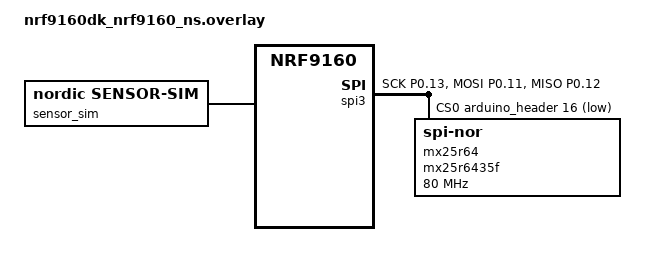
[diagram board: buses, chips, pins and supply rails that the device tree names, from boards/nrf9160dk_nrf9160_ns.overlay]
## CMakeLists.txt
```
#
# Copyright (c) 2018 Nordic Semiconductor
#
# SPDX-License-Identifier: LicenseRef-Nordic-5-Clause
#

cmake_minimum_required(VERSION 3.20.0)

find_package(Zephyr REQUIRED HINTS $ENV{ZEPHYR_BASE})
project(lwm2m_client)
zephyr_compile_definitions(PROJECT_NAME=${PROJECT_NAME})

# NORDIC SDK APP START
target_sources(app PRIVATE src/main.c)
zephyr_include_directories(src)
# NORDIC SDK APP END

# Include application events and configuration headers
zephyr_library_include_directories(
	src/lwm2m
	src/ui
	src/ipso
	src/events
	src/sensors
	src/modules
	)

# Application sources
add_subdirectory(src/lwm2m)
add_subdirectory(src/ui)
add_subdirectory(src/ipso)
add_subdirectory(src/events)
add_subdirectory(src/sensors)
add_subdirectory(src/modules)
add_subdirectory(src/shell_cmds)
```

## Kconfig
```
#
# Copyright (c) 2018 Nordic Semiconductor ASA
#
# SPDX-License-Identifier: LicenseRef-Nordic-5-Clause
#

menu "Application sample"

rsource "src/ui/Kconfig"
rsource "src/modules/Kconfig"
rsource "src/lwm2m/Kconfig"

menu "LwM2M objects"
config APP_PUSH_BUTTON
	bool "Enable button(s)"
	select UI_INPUT
	select LWM2M_IPSO_PUSH_BUTTON
	select LWM2M_APP_PUSH_BUTTON


config APP_ONOFF_SWITCH
	bool "Enable switches"
	depends on BOARD_NRF9160DK_NRF9160_NS
	select UI_INPUT
	select LWM2M_IPSO_ONOFF_SWITCH
	select LWM2M_APP_ONOFF_SWITCH


menuconfig APP_LIGHT_CONTROL
	bool "Enable LED(s)"
	select UI_LED
	select LWM2M_IPSO_LIGHT_CONTROL
	select LWM2M_APP_LIGHT_CONTROL

if APP_LIGHT_CONTROL
	rsource "src/ui/Kconfig.ui_led"
endif # APP_LIGHT_CONTROL


menuconfig APP_BUZZER
	bool "Enable buzzer"
	depends on BOARD_THINGY91_NRF9160_NS
	select UI_BUZZER
	select LWM2M_APP_BUZZER


menuconfig APP_LIGHT_SENSOR
	bool "Enable light sensor"
	select LIGHT_SENSOR
	select LWM2M_IPSO_APP_COLOUR_SENSOR
	select LWM2M_APP_LIGHT_SENSOR

if APP_LIGHT_SENSOR
	rsource "src/sensors/Kconfig.light_sensor"
	rsource "src/ipso/Kconfig.ipso_colour_sensor"
endif # APP_LIGHT_SENSOR


menuconfig APP_ENV_SENSOR
	bool "Enable environment sensors"
	select ENVIRONMENT_SENSOR
	help
	  Enables options for enabling temperature, pressure, humidity and gas resistance sensors.

if APP_ENV_SENSOR
rsource "src/sensors/Kconfig.env_sensor"

config APP_TEMP_SENSOR
	bool "Enable temperature sensor"
	select LWM2M_IPSO_TEMP_SENSOR
	select LWM2M_APP_TEMP_SENSOR

config APP_PRESS_SENSOR
	bool "Enable air pressure sensor"
	select LWM2M_IPSO_PRESSURE_SENSOR
	select LWM2M_APP_PRESS_SENSOR

config APP_HUMID_SENSOR
	bool "Enable humidity sensor"
	select LWM2M_IPSO_HUMIDITY_SENSOR
	select LWM2M_APP_HUMID_SENSOR

config APP_GAS_RES_SENSOR
	bool "Enable gas resistance sensor"
	select LWM2M_IPSO_GENERIC_SENSOR
	select LWM2M_APP_GAS_RES_SENSOR
endif # APP_ENV_SENSOR


menuconfig APP_ACCELEROMETER
	bool "Enable accelerometer"
	select ACCELEROMETER
	select LWM2M_IPSO_ACCELEROMETER
	select LWM2M_APP_ACCELEROMETER

if APP_ACCELEROMETER
	rsource "src/sensors/Kconfig.accelerometer"
endif # APP_ACCELEROMETER

menuconfig APP_GNSS
	bool "Enable GNSS"
	select GNSS
	select LWM2M_LOCATION_OBJ_SUPPORT

if APP_GNSS
	rsource "src/sensors/Kconfig.gnss"
endif # APP_GNSS

endmenu # LwM2M objects

config APP_LWM2M_PSK
	string "LwM2M pre-shared key for communication"
	default "000102030405060708090a0b0c0d0e0f"
	help
	  Pre Shared Key must be identical to the PSK registered with the device on the LwM2M server.
	  Use the hexadecimal representation.

config APP_ENDPOINT_PREFIX
	string "Prefix used in the endpoint name"
	default "urn:imei:"
	help
	  Sets the prefix of the endpoint name used when connecting to the LwM2M server.
menu "Device info"
config APP_MANUFACTURER
	string "Board manufacturer"
	default	"Nordic Semiconductor ASA"

config APP_DEVICE_TYPE
	string "Device type"
	default	"OMA-LWM2M Client"
endmenu

config APP_CUSTOM_VERSION
	string "Application version. Leave empty to use NCS version"

config APP_NEIGHBOUR_CELL_SCAN_INTERVAL
	int "Interval time [s] between neighbour cell scans"
	depends on LWM2M_CLIENT_UTILS_SIGNAL_MEAS_INFO_OBJ_SUPPORT
	default 600
	help
	  Low value on interval may reduce the performance of the system.

config APP_LWM2M_CONFORMANCE_TESTING
	bool "Send test payload periodically"
	help
	  Enable functionality that uses LwM2M SEND operation to deliver test payload.
	  This allows testing of SEND operation itself as well as "mute-send" resource.

module = APP
module-dep = LOG
module-str = Log level for sample
source "${ZEPHYR_BASE}/subsys/logging/Kconfig.template.log_config"
endmenu # Application sample


menu "Zephyr Kernel"
source "Kconfig.zephyr"
endmenu # Zephyr Kernel
```

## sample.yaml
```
sample:
  name: nrf LwM2M Sample
tests:
  sample.nrf9160.lwm2m_client:
    build_only: true
    integration_platforms:
      - nrf9160dk_nrf9160_ns
      - thingy91_nrf9160_ns
    platform_allow: nrf9160dk_nrf9160_ns thingy91_nrf9160_ns
    tags: ci_build
```

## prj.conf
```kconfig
# General config
CONFIG_NEWLIB_LIBC=y
CONFIG_ASSERT=y
CONFIG_REBOOT=y

# Network
CONFIG_NETWORKING=y
CONFIG_NET_NATIVE=n
CONFIG_NET_IPV6=n
CONFIG_NET_IPV4=y
CONFIG_NET_SOCKETS=y
CONFIG_NET_SOCKETS_OFFLOAD=y

# Sensors
CONFIG_I2C=y
CONFIG_SPI=y
CONFIG_SENSOR=y

# LwM2M and IPSO
CONFIG_LWM2M=y
CONFIG_LWM2M_COAP_BLOCK_SIZE=512
CONFIG_LWM2M_COAP_MAX_MSG_SIZE=1280
CONFIG_LWM2M_ENGINE_MAX_OBSERVER=15
CONFIG_LWM2M_ENGINE_MAX_MESSAGES=15
CONFIG_LWM2M_ENGINE_MAX_PENDING=15
CONFIG_LWM2M_ENGINE_MAX_REPLIES=15
CONFIG_LWM2M_DNS_SUPPORT=y
CONFIG_LWM2M_RW_JSON_SUPPORT=n
CONFIG_LWM2M_SERVER_DEFAULT_PMIN=1
CONFIG_LWM2M_SERVER_DEFAULT_PMAX=300
CONFIG_LWM2M_CLIENT_UTILS=y
CONFIG_LWM2M_CLIENT_UTILS_LOCATION_OBJ_SUPPORT=n
CONFIG_LWM2M_IPSO_SUPPORT=y

# DTLS settings
CONFIG_LWM2M_DTLS_SUPPORT=y

# nRF9160 helper libraries
CONFIG_MODEM_KEY_MGMT=y

# Default app to debug logging
CONFIG_LOG=y
CONFIG_APP_LOG_LEVEL_DBG=y

# Support HEX style PSK values (double the size + NULL char)
CONFIG_LWM2M_SECURITY_KEY_SIZE=33

# extend CoAP retry timing to 4 seconds for LTE/LTE-M
CONFIG_COAP_INIT_ACK_TIMEOUT_MS=4000

# Enable CoAP extended option length
CONFIG_COAP_EXTENDED_OPTIONS_LEN=y
CONFIG_COAP_EXTENDED_OPTIONS_LEN_VALUE=40

# Enable settings storage
CONFIG_SETTINGS=y
CONFIG_FCB=y
CONFIG_SETTINGS_FCB=y
CONFIG_FLASH_MAP=y
CONFIG_STREAM_FLASH=y

# LTE link control
CONFIG_LTE_LINK_CONTROL=y
CONFIG_LTE_NETWORK_MODE_LTE_M_GPS=y

# Modem library
CONFIG_NRF_MODEM_LIB=y

# Modem info
CONFIG_MODEM_INFO=y
CONFIG_MODEM_INFO_ADD_DATE_TIME=n

# Enable shell
CONFIG_LWM2M_SHELL=y

# Heap and stacks
CONFIG_HEAP_MEM_POOL_SIZE=16384
CONFIG_MAIN_STACK_SIZE=4096
CONFIG_LWM2M_ENGINE_STACK_SIZE=3072
CONFIG_SYSTEM_WORKQUEUE_STACK_SIZE=2048

# Allow FOTA downloads using download-client
CONFIG_DOWNLOAD_CLIENT=y
CONFIG_DOWNLOAD_CLIENT_STACK_SIZE=4096
CONFIG_DOWNLOAD_CLIENT_HTTP_FRAG_SIZE_1024=y
CONFIG_FOTA_DOWNLOAD=y

# Application version
CONFIG_MCUBOOT_IMAGE_VERSION="1.0.0"

# Set LwM2M Server IP address here
CONFIG_LWM2M_CLIENT_UTILS_SERVER="coaps://leshan.eclipseprojects.io:5684"

# Application Event Manager
CONFIG_APP_EVENT_MANAGER=y

# Date-Time library
CONFIG_DATE_TIME=y
CONFIG_DATE_TIME_UPDATE_INTERVAL_SECONDS=86400

# Enable LwM2M Queue Mode
CONFIG_LWM2M_QUEUE_MODE_ENABLED=y

# Enable TLS session caching to prevent doing a full TLS handshake for every send.
CONFIG_LWM2M_TLS_SESSION_CACHING=y

# Socket close is skipped at RX off idle state which optimize power consumption
# Socket close call will enable RCC connection for send Alert message to server
# Alert is now send right before opening a new connection.
CONFIG_LWM2M_RD_CLIENT_SUSPEND_SOCKET_AT_IDLE=y

# Sets the duration that the lwm2m engine will be polling for data after transmission before
# the socket is closed.
# Adjust so that we can detach from network in 30 seconds
CONFIG_LWM2M_QUEUE_MODE_UPTIME=30

# Set lifetime of 12 hours
CONFIG_LWM2M_ENGINE_DEFAULT_LIFETIME=43200

# Do registration update after 5400 seconds (90 minutes)
CONFIG_LWM2M_SECONDS_TO_UPDATE_EARLY=37800

# Configure PSM mode
# Request periodic TAU of 3600 seconds (60 minutes)
CONFIG_LTE_PSM_REQ_RPTAU="00000110"

# Set Requested Active Time (RAT) to 30 seconds. Preferably a little bit longer than the
# configured LWM2M_QUEUE_MODE_UPTIME. Due to NAT/firewall UDP connections are usually
# closed within 30-60 seconds so there is in general no point in setting a longer
# Queue mode uptime / LTE PSM active time.
CONFIG_LTE_PSM_REQ_RAT="00001111"

# Request eDRX mode
CONFIG_LTE_EDRX_REQ=y

# Request eDRX cycle length of 10.24 seconds for LTE-M
CONFIG_LTE_EDRX_REQ_VALUE_LTE_M="0001"

# Request eDRX cycle length of 20.48 seconds for NB-IoT
CONFIG_LTE_EDRX_REQ_VALUE_NBIOT="0010"

# Request Paging time window of 1.28 seconds for LTE-M
CONFIG_LTE_PTW_VALUE_LTE_M="0000"

# Request Paging time window of 2.56 seconds for NB-IoT
CONFIG_LTE_PTW_VALUE_NBIOT="0000"

# Get notification before Tracking Area Update (TAU). Notification triggers registration
# update and TAU will be sent with the update which decreases power consumption.
CONFIG_LTE_LC_TAU_PRE_WARNING_NOTIFICATIONS=y
```

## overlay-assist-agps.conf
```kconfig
CONFIG_NEWLIB_LIBC_FLOAT_PRINTF=y
#LwM2M Client utility library options
CONFIG_LWM2M_CLIENT_UTILS_GNSS_ASSIST_OBJ_SUPPORT=y
CONFIG_LWM2M_CLIENT_UTILS_LOCATION_ASSIST_AGPS=y
#AGPS library options
CONFIG_NRF_CLOUD_AGPS=y
#Enable LwM2M 1.1
CONFIG_LWM2M_VERSION_1_1=y
CONFIG_LWM2M_COMPOSITE_PATH_LIST_SIZE=10
#Enable SenML-CBOR content format
CONFIG_LWM2M_RW_SENML_CBOR_SUPPORT=y
CONFIG_ZCBOR=y
CONFIG_ZCBOR_CANONICAL=y
CONFIG_LWM2M_RW_SENML_CBOR_RECORDS=35
```

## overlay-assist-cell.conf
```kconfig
CONFIG_NEWLIB_LIBC_FLOAT_PRINTF=y
#LwM2M Client utility library options
CONFIG_LWM2M_CLIENT_UTILS_GROUND_FIX_OBJ_SUPPORT=y
CONFIG_LWM2M_CLIENT_UTILS_LOCATION_ASSIST_EVENTS=y
CONFIG_LWM2M_CLIENT_UTILS_LOCATION_ASSIST_CELL=y
CONFIG_LWM2M_CLIENT_UTILS_NEIGHBOUR_CELL_LISTENER=y
#Enable LwM2M 1.1
CONFIG_LWM2M_VERSION_1_1=y
CONFIG_LWM2M_COMPOSITE_PATH_LIST_SIZE=10
#Enable SenML-CBOR content format
CONFIG_LWM2M_RW_SENML_CBOR_SUPPORT=y
CONFIG_ZCBOR=y
CONFIG_ZCBOR_CANONICAL=y
CONFIG_LWM2M_RW_SENML_CBOR_RECORDS=35
# Increase AT monitor heap because %NCELLMEAS notifications can be large
CONFIG_AT_MONITOR_HEAP_SIZE=512
```

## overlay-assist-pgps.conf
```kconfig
CONFIG_NEWLIB_LIBC_FLOAT_PRINTF=y
#LwM2M Client utility library options
CONFIG_LWM2M_CLIENT_UTILS_GNSS_ASSIST_OBJ_SUPPORT=y
CONFIG_LWM2M_CLIENT_UTILS_LOCATION_ASSIST_PGPS=y
CONFIG_LWM2M_CLIENT_UTILS_LOCATION_ASSIST_PGPS_PREDICTION_COUNT=8
#PGPS library options
CONFIG_NRF_CLOUD_PGPS=y
CONFIG_NRF_CLOUD_PGPS_TRANSPORT_NONE=y
CONFIG_NRF_CLOUD_PGPS_DOWNLOAD_TRANSPORT_CUSTOM=y
#Enable LwM2M 1.1
CONFIG_LWM2M_VERSION_1_1=y
CONFIG_LWM2M_COMPOSITE_PATH_LIST_SIZE=10
#Enable SenML-CBOR content format
CONFIG_LWM2M_RW_SENML_CBOR_SUPPORT=y
CONFIG_ZCBOR=y
CONFIG_ZCBOR_CANONICAL=y
CONFIG_LWM2M_RW_SENML_CBOR_RECORDS=35
```

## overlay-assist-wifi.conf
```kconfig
#
# Copyright (c) 2022 Nordic Semiconductor ASA
#
# SPDX-License-Identifier: LicenseRef-Nordic-5-Clause
#

# Overlay to use nRF7002 EK on top of nrf9160 DK for Wi-Fi scanning

# Disable modem traces as UART1 is disabled
CONFIG_NRF_MODEM_LIB_TRACE=n

# System settings
CONFIG_NEWLIB_LIBC=y
CONFIG_NEWLIB_LIBC_FLOAT_PRINTF=y

# LwM2M Client utility library options
CONFIG_LWM2M_CLIENT_UTILS_GROUND_FIX_OBJ_SUPPORT=y
CONFIG_LWM2M_CLIENT_UTILS_VISIBLE_WIFI_AP_OBJ_SUPPORT=y
CONFIG_LWM2M_CLIENT_UTILS_WIFI_AP_SCANNER=y

# Enable LwM2M 1.1
CONFIG_LWM2M_VERSION_1_1=y
CONFIG_LWM2M_COMPOSITE_PATH_LIST_SIZE=10

# Enable SenML-CBOR content format
CONFIG_LWM2M_RW_SENML_CBOR_SUPPORT=y
CONFIG_ZCBOR=y
CONFIG_ZCBOR_CANONICAL=y
CONFIG_LWM2M_RW_SENML_CBOR_RECORDS=40

# Needed to handle more scan results
CONFIG_HEAP_MEM_POOL_SIZE=60000

# Does not work with buttons&LEDs
CONFIG_APP_PUSH_BUTTON=n
CONFIG_APP_ONOFF_SWITCH=n
CONFIG_DK_LIBRARY=n

# Actual configs for the Wi-Fi
CONFIG_WIFI=y
CONFIG_NRF_WIFI700X=y
CONFIG_NET_L2_WIFI_MGMT=y

# Scan only using offload API
CONFIG_WPA_SUPP=n

# For nRF9160 the default is socket interface
CONFIG_NET_DEFAULT_IF_ETHERNET=y
#CONFIG_MBEDTLS=n
CONFIG_NORDIC_SECURITY_BACKEND=n

# Networking
CONFIG_NET_L2_ETHERNET=y
CONFIG_NET_NATIVE=y
```

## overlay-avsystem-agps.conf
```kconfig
CONFIG_NEWLIB_LIBC_FLOAT_PRINTF=y
CONFIG_LWM2M_CLIENT_UTILS_SERVER="coaps://eu.iot.avsystem.cloud:5684"
CONFIG_LWM2M_CLIENT_UTILS_LOCATION_ASSIST_OBJ_SUPPORT=y
CONFIG_LWM2M_CLIENT_UTILS_LOCATION_ASSIST_EVENTS=y
CONFIG_NRF_CLOUD_AGPS=y
CONFIG_LWM2M_CLIENT_UTILS_LOCATION_ASSIST_AGPS=y
CONFIG_LWM2M_VERSION_1_1=y
CONFIG_BASE64=y
CONFIG_LWM2M_RW_SENML_JSON_SUPPORT=y
CONFIG_LWM2M_RW_JSON_SUPPORT=y
CONFIG_LWM2M_SECONDS_TO_UPDATE_EARLY=8
CONFIG_LWM2M_COAP_MAX_MSG_SIZE=1024
CONFIG_LWM2M_COMPOSITE_PATH_LIST_SIZE=10
```

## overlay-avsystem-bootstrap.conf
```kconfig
CONFIG_LWM2M_RD_CLIENT_SUPPORT_BOOTSTRAP=y
CONFIG_LWM2M_CLIENT_UTILS_SERVER="coaps://eu.iot.avsystem.cloud:5694"
CONFIG_LWM2M_SECURITY_INSTANCE_COUNT=3
```

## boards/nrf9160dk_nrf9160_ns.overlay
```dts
/*
 * Copyright (c) 2021 Nordic Semiconductor ASA
 *
 * SPDX-License-Identifier: LicenseRef-Nordic-5-Clause
 */

/ {
	sensor_sim: sensor-sim {
		compatible = "nordic,sensor-sim";
		acc-signal = "wave";
	};
};

&spi3 {
	compatible = "nordic,nrf-spim";
	status = "okay";
	pinctrl-0 = <&spi3_default_alt>;
	pinctrl-1 = <&spi3_sleep_alt>;
	pinctrl-names = "default", "sleep";
	cs-gpios = <&arduino_header 16 GPIO_ACTIVE_LOW>, /* D10 */
		   <&gpio0 25 GPIO_ACTIVE_LOW>;
	mx25r64: mx25r6435f@1 {
		compatible = "jedec,spi-nor";
		reg = <0>;
		status = "okay";
		spi-max-frequency = <80000000>;
		jedec-id = [c2 28 17];
		size = <67108864>;
	};
};

&pinctrl {
	spi3_default_alt: spi3_default_alt {
		group1 {
			psels = <NRF_PSEL(SPIM_SCK, 0, 13)>,
				<NRF_PSEL(SPIM_MOSI, 0, 11)>,
				<NRF_PSEL(SPIM_MISO, 0, 12)>;
		};
	};

	spi3_sleep_alt: spi3_sleep_alt {
		group1 {
			psels = <NRF_PSEL(SPIM_SCK, 0, 13)>,
				<NRF_PSEL(SPIM_MOSI, 0, 11)>,
				<NRF_PSEL(SPIM_MISO, 0, 12)>;
			low-power-enable;
		};
	};
};
```

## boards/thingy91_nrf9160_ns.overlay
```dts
/*
 * Copyright (c) 2022 Nordic Semiconductor ASA
 *
 * SPDX-License-Identifier: LicenseRef-Nordic-5-Clause
 */

/ {
	buzzer: buzzer {
		compatible = "pwm-buzzer";
		pwms = <&pwm1 0 PWM_MSEC(20) PWM_POLARITY_NORMAL>;
	};
};
```

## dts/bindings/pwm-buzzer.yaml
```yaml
# Copyright (c) 2022 Nordic Semiconductor
#
# SPDX-License-Identifier: LicenseRef-Nordic-5-Clause

description: |
    This is a representation of a buzzer controlled by a PWM signal. Example
    usage:

      buzzer {
        compatible = "pwm-buzzer";
        pwms = <&pwm0 0 PWM_HZ(440) PWM_POLARITY_NORMAL>;
      };

compatible: "pwm-buzzer"

include: base.yaml

properties:
    pwms:
      type: phandle-array
      required: true
```

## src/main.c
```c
/*
 * Copyright (c) 2019 Nordic Semiconductor ASA
 *
 * SPDX-License-Identifier: LicenseRef-Nordic-5-Clause
 */

#include <zephyr/kernel.h>
#include <ctype.h>
#include <zephyr/drivers/gpio.h>
#include <stdio.h>
#include <zephyr/net/lwm2m.h>
#include <modem/nrf_modem_lib.h>
#include <net/lwm2m_client_utils.h>
#include <app_event_manager.h>
#include <net/lwm2m_client_utils_location.h>
#include <date_time.h>

#include <zephyr/logging/log.h>
LOG_MODULE_REGISTER(app_lwm2m_client, CONFIG_APP_LOG_LEVEL);

#include <modem/lte_lc.h>
#include <modem/modem_info.h>
#include <nrf_modem_at.h>

#include "lwm2m_client_app.h"
#include "lwm2m_app_utils.h"
#include "sensor_module.h"
#include "gnss_module.h"
#include "location_events.h"

#if defined(CONFIG_LWM2M_CLIENT_UTILS_LOCATION_ASSISTANCE)
#include "ui_input.h"
#include "ui_input_event.h"
#endif

#if !defined(CONFIG_LTE_LINK_CONTROL)
#error "Missing CONFIG_LTE_LINK_CONTROL"
#endif

#define APP_BANNER "Run LWM2M client"

#define IMEI_LEN 15
#define ENDPOINT_NAME_LEN (IMEI_LEN + sizeof(CONFIG_APP_ENDPOINT_PREFIX) + 1)

#define LWM2M_SECURITY_PRE_SHARED_KEY 0
#define LWM2M_SECURITY_RAW_PUBLIC_KEY 1
#define LWM2M_SECURITY_CERTIFICATE 2
#define LWM2M_SECURITY_NO_SEC 3

#define CONNEVAL_MAX_DELAY_S 60
#define CONNEVAL_POLL_PERIOD_MS 5000

/* Client State Machine states */
static enum client_state {
	START,		/* Start Connection to a server*/
	CONNECTING,	/* LwM2M engine is connecting to server */
	BOOTSTRAP,	/* LwM2M engine is doing a bootstrap */
	CONNECTED,	/* LwM2M Client connection establisment to server */
	LTE_OFFLINE,	/* LTE offline and LwM2M engine should be suspended */
	UPDATE_FIRMWARE, /* Prepare app ready for firmware update */
	NETWORK_ERROR	/* Client network error handling. Client stop and modem reset */
} client_state = START;

static uint8_t endpoint_name[ENDPOINT_NAME_LEN + 1];
static uint8_t imei_buf[IMEI_LEN + sizeof("\r\nOK\r\n")];
static struct lwm2m_ctx client = {0};
static bool reconnect;
static K_SEM_DEFINE(state_mutex, 0, 1);
static K_MUTEX_DEFINE(lte_mutex);
static bool modem_connected_to_network;
/* Enable session lifetime check for initial boot */
static bool update_session_lifetime = true;
static bool ready_for_firmware_update;

static void rd_client_event(struct lwm2m_ctx *client, enum lwm2m_rd_client_event client_event);

void client_acknowledge(void)
{
	lwm2m_acknowledge(&client);
}

#if defined(CONFIG_LWM2M_CLIENT_UTILS_SIGNAL_MEAS_INFO_OBJ_SUPPORT)
static struct k_work_delayable ncell_meas_work;
void ncell_meas_work_handler(struct k_work *work)
{
	lwm2m_ncell_schedule_measurement();
	k_work_schedule(&ncell_meas_work, K_SECONDS(CONFIG_APP_NEIGHBOUR_CELL_SCAN_INTERVAL));
}
#endif
#if defined(CONFIG_LWM2M_CLIENT_UTILS_VISIBLE_WIFI_AP_OBJ_SUPPORT)
static struct k_work_delayable ground_fix_work;
void ground_fix_work_handler(struct k_work *work)
{
	LOG_INF("Send ground fix location request event");
	struct ground_fix_location_request_event *ground_fix_event =
	new_ground_fix_location_request_event();

	APP_EVENT_SUBMIT(ground_fix_event);
}
#endif

#if defined(CONFIG_LWM2M_CLIENT_UTILS_LOCATION_ASSISTANCE)
static bool button_callback(const struct app_event_header *aeh)
{
	if (is_ui_input_event(aeh)) {
		struct ui_input_event *event = cast_ui_input_event(aeh);

		if (event->type != PUSH_BUTTON || event->state == 0) {
			return false;
		}

		switch (event->device_number) {
		case 1:
#if defined(CONFIG_LWM2M_CLIENT_UTILS_LOCATION_ASSIST_AGPS) || \
defined(CONFIG_LWM2M_CLIENT_UTILS_LOCATION_ASSIST_PGPS)
			LOG_INF("Starting GNSS");
			start_gnss();
#else
			LOG_INF("A-GPS not enabled");
#endif
			break;
		case 2:
#if defined(CONFIG_LWM2M_CLIENT_UTILS_GROUND_FIX_OBJ_SUPPORT)
			LOG_INF("Send cell location request event");
			struct ground_fix_location_request_event *ground_fix_event =
				new_ground_fix_location_request_event();

			APP_EVENT_SUBMIT(ground_fix_event);
#else
			LOG_INF("Ground fix location not enabled");
#endif
			break;
		}
	}
	return false;
}


APP_EVENT_LISTENER(app_lwm2m_client, button_callback);
APP_EVENT_SUBSCRIBE(app_lwm2m_client, ui_input_event);
#endif

#if defined(CONFIG_APP_LWM2M_CONFORMANCE_TESTING)
static struct k_work_delayable send_periodical_work;
static uint8_t send_count = 0;

static int server_send_mute_cb(uint16_t obj_inst_id, uint16_t res_id, uint16_t res_inst_id, uint8_t *data,
			uint16_t data_len, bool last_block, size_t total_size)
{
	if (*data) {
		LOG_INF("Server Muted Send");
	} else {

		if (send_count == 0) {
			LOG_INF("Server Activate Send");
			send_count = 5;
			k_work_schedule(&send_periodical_work, K_SECONDS(1));
		}
	}

	return 0;
}

static void lwm2m_register_server_send_mute_cb(void)
{
	int ret;
	lwm2m_engine_set_data_cb_t cb;

	cb = server_send_mute_cb;
	ret = lwm2m_register_post_write_callback(&LWM2M_OBJ(1, client.srv_obj_inst, 23), cb);
	if (ret) {
		LOG_ERR("Send enable CB fail %d", ret);
	}
}

void send_periodically_work_handler(struct k_work *work)
{
	int ret;
	const struct lwm2m_obj_path send_path[4] = {
		LWM2M_OBJ(3, 0, 0),
		LWM2M_OBJ(3, 0, 3),
		LWM2M_OBJ(3, 0, 13),
		LWM2M_OBJ(3, 0, 19),
	};

	/* lwm2m send post to server */
	ret = lwm2m_send_cb(&client, send_path, 4, NULL);
	if (ret) {
		if (ret == EPERM) {
			LOG_INF("Server Mute send block send operation");
		} else {
			LOG_INF("Periodically SEND test data fail %d", ret);
		}
	}

	if (send_count) {
		if (ret == 0) {
			send_count--;
		}

		k_work_schedule(&send_periodical_work, K_SECONDS(15));
	}
}
#endif

static void state_trigger_and_unlock(enum client_state new_state)
{
	if (new_state != client_state) {
		client_state = new_state;
		k_sem_give(&state_mutex);
	}
	k_mutex_unlock(&lte_mutex);
}

#if defined(CONFIG_LWM2M_CLIENT_UTILS_FIRMWARE_UPDATE_OBJ_SUPPORT)
static int lwm2m_firmware_event_cb(struct lwm2m_fota_event *event)
{
	k_mutex_lock(&lte_mutex, K_FOREVER);
	switch (event->id) {
	case LWM2M_FOTA_DOWNLOAD_START:
		LOG_INF("FOTA download started for instance %d", event->download_start.obj_inst_id);
		break;
	/** FOTA download process finished */
	case LWM2M_FOTA_DOWNLOAD_FINISHED:
		LOG_INF("FOTA download ready for instance %d, dfu_type %d",
			event->download_ready.obj_inst_id, event->download_ready.dfu_type);
		break;
	/** FOTA update new image */
	case LWM2M_FOTA_UPDATE_IMAGE_REQ:
		if (!ready_for_firmware_update) {
			state_trigger_and_unlock(UPDATE_FIRMWARE);
			/* Postpone request by 2 seconds */
			return 2;
		}
		LOG_INF("FOTA Update request for instance %d", event->update_req.obj_inst_id);

		break;
	/** Fota process fail or cancelled  */
	case LWM2M_FOTA_UPDATE_ERROR:
		LOG_INF("FOTA failure %d by status %d", event->failure.obj_inst_id,
			event->failure.update_failure);
		break;
	}
	k_mutex_unlock(&lte_mutex);
	return 0;
}
#endif

static int lwm2m_setup(void)
{
#if defined(CONFIG_LWM2M_CLIENT_UTILS_DEVICE_OBJ_SUPPORT)
	/* Manufacturer independent */
	lwm2m_init_device();
#endif

	/* Manufacturer dependent */
	/* use IMEI as serial number */
	lwm2m_app_init_device(imei_buf);
	lwm2m_init_security(&client, endpoint_name, NULL);

	if (sizeof(CONFIG_APP_LWM2M_PSK) > 1) {
		/* Write hard-coded PSK key to engine */
		/* First security instance is the right one, because in bootstrap mode, */
		/* it is the bootstrap PSK. In normal mode, it is the server key */
		lwm2m_security_set_psk(0, CONFIG_APP_LWM2M_PSK, sizeof(CONFIG_APP_LWM2M_PSK), true,
				       endpoint_name);
	}

#if defined(CONFIG_LWM2M_CLIENT_UTILS_FIRMWARE_UPDATE_OBJ_SUPPORT)
	lwm2m_init_firmware_cb(lwm2m_firmware_event_cb);
#endif
#if defined(CONFIG_LWM2M_APP_LIGHT_CONTROL)
	lwm2m_init_light_control();
#endif
#if defined(CONFIG_LWM2M_APP_TEMP_SENSOR)
	lwm2m_init_temp_sensor();
#endif
#if defined(CONFIG_LWM2M_APP_PRESS_SENSOR)
	lwm2m_init_press_sensor();
#endif
#if defined(CONFIG_LWM2M_APP_HUMID_SENSOR)
	lwm2m_init_humid_sensor();
#endif
#if defined(CONFIG_LWM2M_APP_GAS_RES_SENSOR)
	lwm2m_init_gas_res_sensor();
#endif
#if defined(CONFIG_LWM2M_APP_BUZZER)
	lwm2m_init_buzzer();
#endif
#if defined(CONFIG_LWM2M_APP_PUSH_BUTTON)
	lwm2m_init_push_button();
#endif
#if defined(CONFIG_LWM2M_APP_ONOFF_SWITCH)
	lwm2m_init_onoff_switch();
#endif
#if defined(CONFIG_LWM2M_APP_ACCELEROMETER)
	lwm2m_init_accel();
#endif
#if defined(CONFIG_LWM2M_APP_LIGHT_SENSOR)
	lwm2m_init_light_sensor();
#endif
#if defined(CONFIG_LWM2M_PORTFOLIO_OBJ_SUPPORT)
	lwm2m_init_portfolio_object();
#endif
#if defined(CONFIG_LWM2M_CLIENT_UTILS_LOCATION_ASSISTANCE)
	location_event_handler_init(&client);
	location_assistance_init_resend_handler();
#endif
#if defined(CONFIG_LWM2M_CLIENT_UTILS_CELL_CONN_OBJ_SUPPORT)
	lwm2m_init_cellular_connectivity_object();
#endif
	if (IS_ENABLED(CONFIG_LWM2M_CLIENT_UTILS_RAI)) {
		lwm2m_init_rai();
	}
	if (IS_ENABLED(CONFIG_LTE_LC_TAU_PRE_WARNING_NOTIFICATIONS) ||
	    IS_ENABLED(CONFIG_LWM2M_CLIENT_UTILS_NEIGHBOUR_CELL_LISTENER)) {
		lwm2m_ncell_handler_register();
	}

	return 0;
}

static void date_time_event_handler(const struct date_time_evt *evt)
{
	switch (evt->type) {
	case DATE_TIME_OBTAINED_MODEM: {
		int64_t time = 0;

		LOG_INF("Obtained date-time from modem");
		date_time_now(&time);
		lwm2m_set_s32(&LWM2M_OBJ(LWM2M_OBJECT_DEVICE_ID, 0, CURRENT_TIME_RID),
				     (int32_t)(time / 1000));
		break;
	}

	case DATE_TIME_OBTAINED_NTP: {
		int64_t time = 0;

		LOG_INF("Obtained date-time from NTP server");
		date_time_now(&time);
		lwm2m_set_s32(&LWM2M_OBJ(LWM2M_OBJECT_DEVICE_ID, 0, CURRENT_TIME_RID),
				     (int32_t)(time / 1000));
		break;
	}

	case DATE_TIME_NOT_OBTAINED:
		LOG_INF("Could not obtain date-time update");
		break;

	default:
		break;
	}
}

static void rd_client_update_lifetime(int srv_obj_inst)
{
	uint32_t current_lifetime = 0;

	uint32_t lifetime = CONFIG_LWM2M_ENGINE_DEFAULT_LIFETIME;

	struct lwm2m_obj_path path = LWM2M_OBJ(1, srv_obj_inst, 1);

	lwm2m_get_u32(&path, &current_lifetime);

	if (current_lifetime != lifetime) {
		/* SET Configured value */
		lwm2m_set_u32(&path, lifetime);
		LOG_DBG("Update session lifetime from %d to %d", current_lifetime, lifetime);
	}
	update_session_lifetime = false;
}

static void state_set_and_unlock(enum client_state new_state)
{
	client_state = new_state;
	k_mutex_unlock(&lte_mutex);
}

static void rd_client_event(struct lwm2m_ctx *client, enum lwm2m_rd_client_event client_event)
{
	k_mutex_lock(&lte_mutex, K_FOREVER);

	if (IS_ENABLED(CONFIG_LWM2M_CLIENT_UTILS_LTE_CONNEVAL)) {
		lwm2m_utils_conneval(client, &client_event);
	}

	if (client_state == LTE_OFFLINE &&
	    client_event != LWM2M_RD_CLIENT_EVENT_ENGINE_SUSPENDED) {
		LOG_DBG("Drop network event %d at LTE offline state", client_event);
		k_mutex_unlock(&lte_mutex);
		return;
	}

	switch (client_event) {
	case LWM2M_RD_CLIENT_EVENT_NONE:
		/* do nothing */
		k_mutex_unlock(&lte_mutex);
		break;

	case LWM2M_RD_CLIENT_EVENT_BOOTSTRAP_REG_FAILURE:
		LOG_DBG("Bootstrap registration failure!");
		state_trigger_and_unlock(NETWORK_ERROR);
		break;

	case LWM2M_RD_CLIENT_EVENT_BOOTSTRAP_REG_COMPLETE:
		LOG_DBG("Bootstrap registration complete");
		update_session_lifetime = true;
		state_trigger_and_unlock(BOOTSTRAP);
		break;

	case LWM2M_RD_CLIENT_EVENT_BOOTSTRAP_TRANSFER_COMPLETE:
		LOG_DBG("Bootstrap transfer complete");
		k_mutex_unlock(&lte_mutex);
		break;

	case LWM2M_RD_CLIENT_EVENT_REGISTRATION_FAILURE:
		LOG_WRN("Registration failure!");
		state_trigger_and_unlock(NETWORK_ERROR);
		break;

	case LWM2M_RD_CLIENT_EVENT_REGISTRATION_COMPLETE:
		LOG_DBG("Registration complete");
		state_trigger_and_unlock(CONNECTED);
		break;

	case LWM2M_RD_CLIENT_EVENT_REG_TIMEOUT:
		LOG_DBG("Registration update failure!");
		state_trigger_and_unlock(NETWORK_ERROR);
		break;

	case LWM2M_RD_CLIENT_EVENT_REG_UPDATE:
		LOG_DBG("Registration update started");
		k_mutex_unlock(&lte_mutex);
		break;

	case LWM2M_RD_CLIENT_EVENT_REG_UPDATE_COMPLETE:
		LOG_DBG("Registration update complete");
		state_trigger_and_unlock(CONNECTED);
		break;

	case LWM2M_RD_CLIENT_EVENT_DEREGISTER_FAILURE:
		LOG_DBG("Deregister failure!");
		reconnect = true;
		state_trigger_and_unlock(NETWORK_ERROR);
		break;

	case LWM2M_RD_CLIENT_EVENT_DISCONNECT:
		LOG_DBG("Disconnected");
		if (client_state != UPDATE_FIRMWARE) {
			state_set_and_unlock(START);
		} else {
			k_mutex_unlock(&lte_mutex);
		}
		break;

	case LWM2M_RD_CLIENT_EVENT_QUEUE_MODE_RX_OFF:
		LOG_DBG("Queue mode RX window closed");
		if (IS_ENABLED(CONFIG_LWM2M_CLIENT_UTILS_RAI)) {
			lwm2m_rai_last();
		}
		k_mutex_unlock(&lte_mutex);
		break;

	case LWM2M_RD_CLIENT_EVENT_ENGINE_SUSPENDED:
		LOG_DBG("LwM2M engine suspended");
		k_mutex_unlock(&lte_mutex);
		break;

	case LWM2M_RD_CLIENT_EVENT_NETWORK_ERROR:
		LOG_ERR("LwM2M engine reported a network error.");
		reconnect = true;
		state_trigger_and_unlock(NETWORK_ERROR);
		break;
	}
}

static void modem_connect(void)
{
	int ret;

#if defined(CONFIG_LWM2M_QUEUE_MODE_ENABLED)
	if (!IS_ENABLED(CONFIG_LTE_EDRX_REQ)) {
		ret = lte_lc_edrx_req(false);
		if (ret < 0) {
			LOG_ERR("EDRX request error %d", ret);
		}
	}

	ret = lte_lc_psm_req(true);
	if (ret < 0) {
		LOG_ERR("lte_lc_psm_req, error: (%d)", ret);
	} else {
		LOG_INF("PSM mode requested");
	}
#endif

	do {

		LOG_INF("Connecting to network.");
		LOG_INF("This may take several minutes.");

		ret = lte_lc_connect();
		if (ret < 0) {
			LOG_WRN("Failed to establish LTE connection (%d).", ret);
			LOG_WRN("Will retry in a minute.");
			lte_lc_offline();
			k_sleep(K_SECONDS(60));
		} else {
			enum lte_lc_lte_mode mode;

			lte_lc_lte_mode_get(&mode);
			if (mode == LTE_LC_LTE_MODE_NBIOT) {
				LOG_INF("Connected to NB-IoT network");
			} else if (mode == LTE_LC_LTE_MODE_LTEM) {
				LOG_INF("Connected to LTE network");
			} else  {
				LOG_INF("Connected to unknown network");
			}
		}
	} while (ret < 0);

	if (IS_ENABLED(CONFIG_LWM2M_CLIENT_UTILS_LTE_CONNEVAL)) {
		ret = lwm2m_utils_enable_conneval(LTE_LC_ENERGY_CONSUMPTION_NORMAL,
						  CONNEVAL_MAX_DELAY_S, CONNEVAL_POLL_PERIOD_MS);
		if (ret < 0) {
			LOG_ERR("Failed to enable conneval (%d)", ret);
		} else {
			LOG_INF("Conneval enabled");
		}
	}
}

static bool lte_connected(enum lte_lc_nw_reg_status nw_reg_status)
{
	if ((nw_reg_status == LTE_LC_NW_REG_REGISTERED_HOME) ||
	    (nw_reg_status == LTE_LC_NW_REG_REGISTERED_ROAMING)) {
		return true;
	}

	return false;
}

static void lwm2m_lte_reg_handler_notify(enum lte_lc_nw_reg_status nw_reg_status)
{
	bool lte_registered;

	LOG_DBG("LTE NW status: %d", nw_reg_status);
	k_mutex_lock(&lte_mutex, K_FOREVER);
	lte_registered = lte_connected(nw_reg_status);
	if (lte_registered != modem_connected_to_network) {
		modem_connected_to_network = lte_registered;
		if (client_state != START && client_state != BOOTSTRAP &&
		    client_state != UPDATE_FIRMWARE) {
			k_sem_give(&state_mutex);
		}
	}
	k_mutex_unlock(&lte_mutex);
}

static void lte_notify_handler(const struct lte_lc_evt *const evt)
{
	switch (evt->type) {
	case LTE_LC_EVT_NW_REG_STATUS:
		lwm2m_lte_reg_handler_notify(evt->nw_reg_status);
		break;
	default:
		break;
	}
}

static void suspend_lwm2m_engine(void)
{
	int ret;

	state_trigger_and_unlock(LTE_OFFLINE);
	ret = lwm2m_engine_pause();
	if (ret) {
		LOG_ERR("LwM2M engine pause fail %d", ret);
		reconnect = true;
		k_mutex_lock(&lte_mutex, K_FOREVER);
		state_trigger_and_unlock(NETWORK_ERROR);
	}
}

int main(void)
{
	int ret;
	uint32_t bootstrap_flags = 0;

	LOG_INF(APP_BANNER);

	ret = nrf_modem_lib_init();
	if (ret < 0) {
		LOG_ERR("Unable to init modem library (%d)", ret);
		return 0;
	}

	ret = app_event_manager_init();
	if (ret) {
		LOG_ERR("Unable to init Application Event Manager (%d)", ret);
		return 0;
	}

	LOG_INF("Initializing modem.");
	ret = lte_lc_init();
	if (ret < 0) {
		LOG_ERR("Unable to init modem (%d)", ret);
		return 0;
	}

	lte_lc_register_handler(lte_notify_handler);

	ret = modem_info_init();
	if (ret < 0) {
		LOG_ERR("Unable to init modem_info (%d)", ret);
		return 0;
	}

	/* query IMEI */
	ret = modem_info_string_get(MODEM_INFO_IMEI, imei_buf, sizeof(imei_buf));
	if (ret < 0) {
		LOG_ERR("Unable to get IMEI");
		return 0;
	}

	/* use IMEI as unique endpoint name */
	snprintk(endpoint_name, sizeof(endpoint_name), "%s%s", CONFIG_APP_ENDPOINT_PREFIX,
		 imei_buf);
	LOG_INF("endpoint: %s", (char *)endpoint_name);

	/* Setup LwM2M */
	ret = lwm2m_setup();
	if (ret < 0) {
		LOG_ERR("Failed to setup LWM2M fields (%d)", ret);
		return 0;
	}

#if defined(CONFIG_LWM2M_CLIENT_UTILS_FIRMWARE_UPDATE_OBJ_SUPPORT)
	ret = lwm2m_init_image();
	if (ret < 0) {
		LOG_ERR("Failed to setup image properties (%d)", ret);
		return 0;
	}
#endif

	modem_connect();

#if defined(CONFIG_APP_GNSS)
	initialise_gnss();
#endif

#ifdef CONFIG_SENSOR_MODULE
	ret = sensor_module_init();
	if (ret) {
		LOG_ERR("Could not initialize sensor module (%d)", ret);
	}
#endif

#if defined(CONFIG_LWM2M_CLIENT_UTILS_SIGNAL_MEAS_INFO_OBJ_SUPPORT)
	k_work_init_delayable(&ncell_meas_work, ncell_meas_work_handler);
	k_work_schedule(&ncell_meas_work, K_SECONDS(1));
#endif
#if defined(CONFIG_LWM2M_CLIENT_UTILS_VISIBLE_WIFI_AP_OBJ_SUPPORT)
	k_work_init_delayable(&ground_fix_work, ground_fix_work_handler);
	k_work_schedule(&ground_fix_work, K_SECONDS(60));
#if defined(CONFIG_LWM2M_CLIENT_UTILS_WIFI_AP_SCANNER)
	lwm2m_wifi_request_scan();
#endif
#endif
#if defined(CONFIG_APP_LWM2M_CONFORMANCE_TESTING)
	k_work_init_delayable(&send_periodical_work, send_periodically_work_handler);
#endif

	while (true) {
		if (lwm2m_security_needs_bootstrap()) {
			bootstrap_flags = LWM2M_RD_CLIENT_FLAG_BOOTSTRAP;
		} else {
			bootstrap_flags = 0;
		}

		k_mutex_lock(&lte_mutex, K_FOREVER);

		switch (client_state) {
		case START:
			LOG_INF("Client connect to server");
			ret = lwm2m_rd_client_start(&client, endpoint_name, bootstrap_flags,
						    rd_client_event, NULL);
			if (ret) {
				state_trigger_and_unlock(NETWORK_ERROR);
			} else {
				state_trigger_and_unlock(CONNECTING);
			}
			break;

		case BOOTSTRAP:
			state_set_and_unlock(BOOTSTRAP);
			LOG_INF("LwM2M is boosttrapping");
			break;

		case CONNECTING:
			LOG_INF("LwM2M is connecting to server");
			k_mutex_unlock(&lte_mutex);
			break;

		case CONNECTED:
			if (!modem_connected_to_network) {
				/* LTE connection down suspend LwM2M engine */
				suspend_lwm2m_engine();
			} else {
				k_mutex_unlock(&lte_mutex);
				LOG_INF("LwM2M is connected to server");
				if (update_session_lifetime) {
					/* Read a current server  lifetime value */
					rd_client_update_lifetime(client.srv_obj_inst);
				}

#if defined(CONFIG_APP_LWM2M_CONFORMANCE_TESTING)
				lwm2m_register_server_send_mute_cb();
#endif
				/* Get current time and date */
				date_time_update_async(date_time_event_handler);
			}
			break;

		case LTE_OFFLINE:
			if (modem_connected_to_network) {
				state_trigger_and_unlock(CONNECTING);
				LOG_INF("Resume LwM2M engine");
				ret = lwm2m_engine_resume();
				if (ret) {
					LOG_ERR("LwM2M engine Resume fail %d", ret);
				}
			} else {
				LOG_INF("LTE Offline");
				k_mutex_unlock(&lte_mutex);
			}
			break;
		case UPDATE_FIRMWARE:
			LOG_INF("Prepare for Firmware update: Stop client and disbale Modem");
			k_mutex_unlock(&lte_mutex);
			lwm2m_rd_client_stop(&client, NULL, false);
			ret = lte_lc_offline();
			if (ret < 0) {
				LOG_ERR("Failed to put LTE link in offline state (%d)", ret);
			}
			ready_for_firmware_update = true;
			LOG_INF("App ready for firmware update");
			break;

		case NETWORK_ERROR:
			/* Stop the LwM2M engine. */
			state_trigger_and_unlock(START);
			lwm2m_rd_client_stop(&client, rd_client_event, false);

			/* Set network state to start for blocking LTE */
			if (reconnect) {
				reconnect = false;

				LOG_INF("LwM2M restart requested. The sample will try to"
					" re-establish network connection.");

				/* Try to reconnect to the network. */
				ret = lte_lc_offline();
				if (ret < 0) {
					LOG_ERR("Failed to put LTE link in offline state (%d)",
						ret);
				}
				modem_connect();
			}
#if defined(CONFIG_APP_LWM2M_CONFORMANCE_TESTING)
			k_work_cancel_delayable(&send_periodical_work);
			send_count = 0;
#endif
			break;
		}

		/* Wait for statmachine update event */
		k_sem_take(&state_mutex, K_FOREVER);
	}

	return 0;
}
```

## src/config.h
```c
/*
 * Copyright (c) 2020 Nordic Semiconductor ASA
 *
 * SPDX-License-Identifier: LicenseRef-Nordic-5-Clause
 */

#if defined(CONFIG_LWM2M_DTLS_SUPPORT)
static char client_psk[] = CONFIG_APP_LWM2M_PSK;

#define SERVER_TLS_TAG CONFIG_APP_SERVER_TLS_TAG
#define BOOTSTRAP_TLS_TAG CONFIG_APP_BOOTSTRAP_TLS_TAG
#endif /* defined(CONFIG_LWM2M_DTLS_SUPPORT) */
```

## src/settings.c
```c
/*
 * Copyright (c) 2019 Nordic Semiconductor ASA
 *
 * SPDX-License-Identifier: LicenseRef-Nordic-5-Clause
 */


#include <zephyr.h>
#include <settings/settings.h>

#include "settings.h"

#include <logging/log.h>
LOG_MODULE_REGISTER(app_fota_settings, CONFIG_APP_LOG_LEVEL);

static struct update_counter uc;

int fota_update_counter_read(struct update_counter *update_counter)
{
	memcpy(update_counter, &uc, sizeof(uc));
	return 0;
}

int fota_update_counter_update(enum counter_type type, uint32_t new_value)
{
	if (type == COUNTER_UPDATE) {
		uc.update = new_value;
	} else {
		uc.current = new_value;
	}

	return settings_save_one("fota/counter", &uc, sizeof(uc));
}

static int set(const char *key, size_t len_rd, settings_read_cb read_cb,
	       void *cb_arg)
{
	int len;
	int key_len;
	const char *next;

	if (!key) {
		return -ENOENT;
	}

	key_len = settings_name_next(key, &next);

	if (!strncmp(key, "counter", key_len)) {
		len = read_cb(cb_arg, &uc, sizeof(uc));
		if (len < sizeof(uc)) {
			LOG_ERR("Unable to read update counter.  Resetting.");
			memset(&uc, 0, sizeof(uc));
		}

		return 0;
	}

	return -ENOENT;
}

static struct settings_handler fota_settings = {
	.name = "fota",
	.h_set = set,
};

int fota_settings_init(void)
{
	int err;

	err = settings_subsys_init();
	if (err) {
		LOG_ERR("settings_subsys_init failed (err %d)", err);
		return err;
	}

	err = settings_register(&fota_settings);
	if (err) {
		LOG_ERR("settings_register failed (err %d)", err);
		return err;
	}

	return 0;
}
```

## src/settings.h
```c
/*
 * Copyright (c) 2019 Nordic Semiconductor ASA
 *
 * SPDX-License-Identifier: LicenseRef-Nordic-5-Clause
 */

#ifndef FOTA_STORAGE_H__
#define FOTA_STORAGE_H__

struct update_counter {
	int current;
	int update;
};


enum counter_type {
	COUNTER_CURRENT = 0,
	COUNTER_UPDATE
};

int fota_update_counter_read(struct update_counter *update_counter);
int fota_update_counter_update(enum counter_type type, uint32_t new_value);
int fota_settings_init(void);

#endif	/* FOTA_STORAGE_H__ */
```
